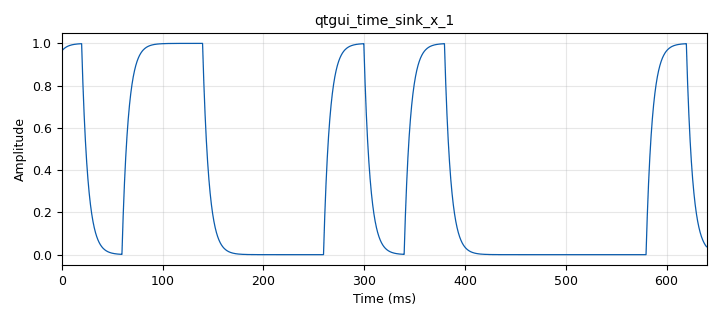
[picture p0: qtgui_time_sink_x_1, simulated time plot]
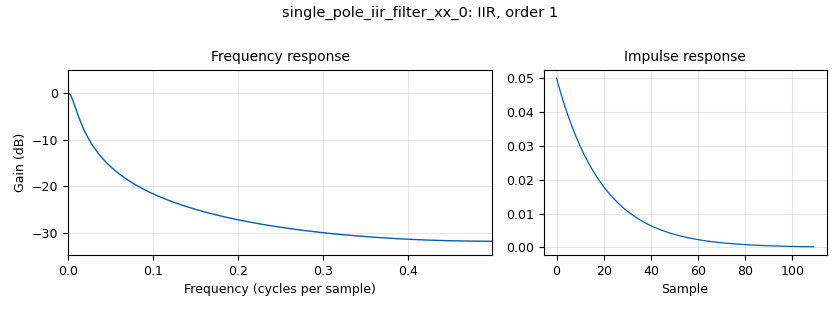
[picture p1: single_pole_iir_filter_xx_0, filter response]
options:
  parameters:
    generate_options: qt_gui
    id: tagtutorial
    output_language: python
    title: Not titled yet
  states: {}

blocks:
- name: samp_rate
  id: variable
  parameters:
    value: '3200'
  states: {}
- name: blocks_add_const_vxx_0
  id: blocks_add_const_vxx
  parameters:
    const: '0.5'
    type: float
  states: {}
- name: blocks_multiply_const_vxx_0
  id: blocks_multiply_const_vxx
  parameters:
    const: '0.5'
    type: float
  states: {}
- name: blocks_repeat_0
  id: blocks_repeat
  parameters:
    interp: '128'
    type: float
  states: {}
- name: blocks_throttle_0
  id: blocks_throttle
  parameters:
    samples_per_second: samp_rate
    type: float
  states: {}
- name: digital_glfsr_source_x_0
  id: digital_glfsr_source_x
  parameters:
    degree: '32'
    mask: '0'
    repeat: 'True'
    seed: '1'
    type: float
  states: {}
- name: qtgui_time_sink_x_1
  id: qtgui_time_sink_x
  parameters:
    autoscale: 'True'
    size: '2048'
    srate: samp_rate
    type: float
  states: {}
- name: single_pole_iir_filter_xx_0
  id: single_pole_iir_filter_xx
  parameters:
    alpha: '0.05'
    type: float
  states: {}

connections:
- [blocks_add_const_vxx_0, '0', single_pole_iir_filter_xx_0, '0']
- [blocks_multiply_const_vxx_0, '0', blocks_add_const_vxx_0, '0']
- [blocks_repeat_0, '0', blocks_multiply_const_vxx_0, '0']
- [blocks_throttle_0, '0', qtgui_time_sink_x_1, '0']
- [digital_glfsr_source_x_0, '0', blocks_repeat_0, '0']
- [single_pole_iir_filter_xx_0, '0', blocks_throttle_0, '0']

metadata:
  file_format: 1
